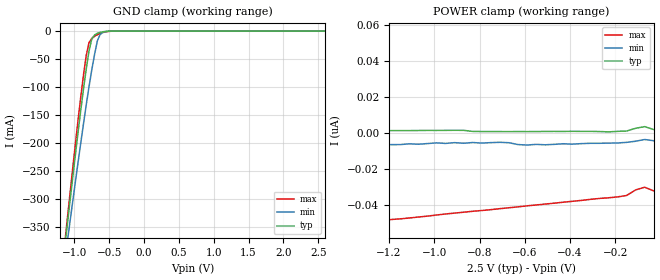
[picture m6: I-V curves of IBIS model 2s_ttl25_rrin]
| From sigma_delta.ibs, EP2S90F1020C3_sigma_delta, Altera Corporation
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[Model] 2s_ttl25_rrin
Model_type Input
Vinl  = 0.7
Vinh  = 1.7
C_comp  3.30pF  NA  NA
[Temperature Range]  25.000   85.000   0.000
[Voltage Range]   2.5   2.375   2.625
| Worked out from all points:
|   GND clamp passes 1 mA (typ) near -0.58 V on its own axis
[GND_Clamp]
| voltage   I(typ)   I(min)   I(max)
-2.5V     -1.931A    -1.729A    -2.049A
-1.15V    -399.1mA   -422mA     -393.3mA
-1.11V    -355.2mA   -384.5mA   -345.9mA
-1.07V    -311.7mA   -347.3mA   -298.9mA
-910mV    -143.2mA   -201.4mA   -119.2mA
-830mV    -67.94mA   -132.1mA   -43.69mA
-790mV    -35.68mA   -99.48mA   -20.62mA
-750mV    -13.96mA   -68.98mA   -13.19mA
-670mV    -3.963mA   -17.43mA   -6.509mA
-630mV    -2.256mA   -5.977mA   -4.208mA
-510mV    -258.5uA   -326.1uA   -611.6uA
2.6V      11.32nA    152.8nA    9.978nA
[POWER_Clamp]
|voltage   I(typ)   I(min)   I(max)
-2.5V     606.9nA    538.2nA    540.4nA
-2.35V    228.6nA    229.6nA    134.4nA
-2.2V     41.56nA    52.58nA    -36.57nA
-2.05V    4.93nA     -1.145nA   -55.67nA
-1.9V     3.649nA    -7.567nA   -54.85nA
-1.75V    1.881nA    -7.157nA   -54.77nA
-910mV    1.738nA    -5.115nA   -44.24nA
-710mV    1.033nA    -4.929nA   -41.78nA
-590mV    1.018nA    -6.453nA   -40.22nA
-190mV    1.154nA    -5.313nA   -35.25nA
-70mV     3.772nA    -3.373nA   -29.87nA
-30mV     2.141nA    -4.07nA    -31.9nA
